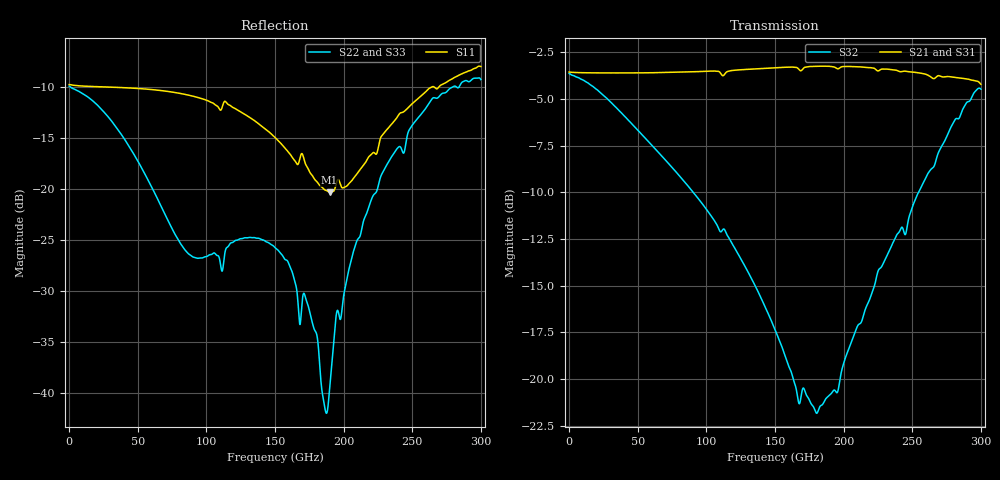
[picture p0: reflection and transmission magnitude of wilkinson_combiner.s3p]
#  Hz  S  RI  R  50
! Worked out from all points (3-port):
!   3000 points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, 100 MHz to 300 GHz, reference 50 ohm
!   strongest paths, dB at 100 MHz, 75.1 GHz, 150.1 GHz, 225.1 GHz, 300 GHz:
!     S21: -3.6, -3.6, -3.3, -3.5, -4.2
!     S31: -3.6, -3.6, -3.3, -3.5, -4.2
!     S32: -3.6, -8.7, -17.4, -14.2, -4.5
!   lowest |S11| = -20.3 dB at 189.8 GHz (marker M1), VSWR 1.21, Z = 41.4 + j1.8 ohm
!   |S11| at or under -10 dB: 31.78 GHz to 33.14 GHz (1.366 GHz wide, 4.21 % of centre); 33.66 GHz to 263.8 GHz (230.2 GHz wide, 155 % of centre); 266.2 GHz to 269.2 GHz (2.971 GHz wide, 1.11 % of centre)
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1e8  -0.3259 0.000288  0.6633 -0.0011  0.6633 -0.00108
     0.6632 -0.00108  -0.3203 0.00173  0.6577 -0.00254
     0.6632 -0.00108  0.6575 -0.0025  -0.3204 0.00175
4.81e10  -0.3049 0.0694  0.5089 -0.4199  0.5095 -0.4193
         0.5084 -0.4204  -0.0416 0.139  0.1831 -0.4348
         0.5084 -0.4204  0.183 -0.4352  -0.0417 0.1389
8.9e10  -0.2591 0.1234  0.1938 -0.6353  0.1949 -0.6352
        0.192 -0.6357  -0.0204 0.0425  -0.1183 -0.2986
        0.192 -0.6357  -0.1182 -0.2986  -0.0205 0.0424
1.501e11  -0.1335 0.1196  -0.3807 -0.5652  -0.3793 -0.5661
          -0.3825 -0.5633  -0.0217 0.0468  -0.1328 0.0265
          -0.3825 -0.5633  -0.1328 0.0263  -0.0218 0.0469
1.867e11  -0.0934 0.0322  -0.6274 -0.2826  -0.626 -0.2842
          -0.6282 -0.2792  0.00798 -0.00185  0.0289 0.0834
          -0.6282 -0.2792  0.029 0.0833  0.00789 -0.00173
1.898e11  -0.0942 0.0216  -0.6403 -0.251  -0.6388 -0.2527
          -0.6409 -0.2476  0.00578 -0.00875  0.0458 0.0782
          -0.6409 -0.2476  0.0459 0.0781  0.00564 -0.00868
1.95e11  -0.1085 0.00404  -0.65 -0.1956  -0.6484 -0.1971
         -0.65 -0.1922  -0.0027 -0.0247  0.0657 0.0642
         -0.65 -0.1922  0.0656 0.0643  -0.00259 -0.0249
2.284e11  -0.1635 -0.0856  -0.6615 0.143  -0.6601 0.14
          -0.6595 0.1466  -0.0893 -0.0807  0.191 -0.0662
          -0.6595 0.1466  0.191 -0.0662  -0.0892 -0.0808
2.688e11  -0.3067 -0.0667  -0.4462 0.4719  -0.4473 0.4665
          -0.4432 0.4732  -0.2604 0.1062  0.1471 -0.3732
          -0.4432 0.4732  0.1471 -0.3733  -0.2606 0.106
3e11  -0.3992 0.0243  -0.1783 0.5892  -0.1846 0.585
      -0.1748 0.5899  -0.0191 0.3441  -0.2973 -0.5179
      -0.1748 0.5899  -0.2976 -0.5177  -0.0191 0.3449
